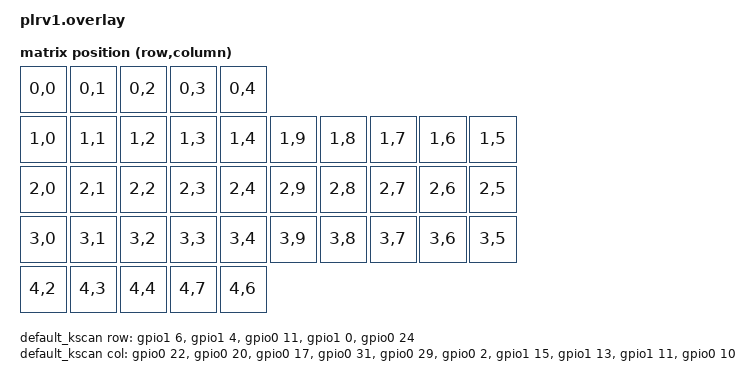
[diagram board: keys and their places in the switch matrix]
#include <dt-bindings/zmk/matrix_transform.h>

/ {
    chosen {
        zmk,kscan = &default_kscan;
        zmk,matrix_transform = &default_transform;
    };

    default_kscan: kscan {
        compatible = "zmk,kscan-gpio-matrix";
        label = "default_kscan";
        diode-direction = "col2row";

        wakeup-source;

        row-gpios = <&gpio1 6 (GPIO_PULL_DOWN | GPIO_ACTIVE_HIGH)>,  // D9 – LF – P1.06
            <&gpio1 4 (GPIO_PULL_DOWN | GPIO_ACTIVE_HIGH)>,  // D8 – LF – P1.04
            <&gpio0 11 (GPIO_PULL_DOWN | GPIO_ACTIVE_HIGH)>, // D7 – HF – P0.11
            <&gpio1 0 (GPIO_PULL_DOWN | GPIO_ACTIVE_HIGH)>,  // D6 – HF – P1.00
            <&gpio0 24 (GPIO_PULL_DOWN | GPIO_ACTIVE_HIGH)>; // D5 – LF – P0.24

        col-gpios = 
            <&gpio0 22 GPIO_ACTIVE_HIGH>,   // D4  – LF – P0.22
            <&gpio0 20 GPIO_ACTIVE_HIGH>,   // D3  – LF – P0.20
            <&gpio0 17 GPIO_ACTIVE_HIGH>,   // D2  – LF – P0.17
            <&gpio0 31 GPIO_ACTIVE_HIGH>,   // D21 – LF – P0.31
            <&gpio0 29 GPIO_ACTIVE_HIGH>,   // D20 – LF – P0.29
            <&gpio0 2  GPIO_ACTIVE_HIGH>,   // D19 – LF – P0.02
            <&gpio1 15 GPIO_ACTIVE_HIGH>,   // D18 – LF – P1.15
            <&gpio1 13 GPIO_ACTIVE_HIGH>,   // D15 – LF – P1.13
            <&gpio1 11 GPIO_ACTIVE_HIGH>,   // D14 – LF – P1.11
            <&gpio0 10 GPIO_ACTIVE_HIGH>;   // D16 – HF – P0.10
    };

    default_transform: matrix_transform {
        compatible = "zmk,matrix-transform";
        rows = <5>;
        columns = <10>;

        map = <
            RC(0,0) RC(0,1) RC(0,2) RC(0,3) RC(0,4)
            RC(1,0) RC(1,1) RC(1,2) RC(1,3) RC(1,4) RC(1,9) RC(1,8) RC(1,7) RC(1,6) RC(1,5)
            RC(2,0) RC(2,1) RC(2,2) RC(2,3) RC(2,4) RC(2,9) RC(2,8) RC(2,7) RC(2,6) RC(2,5)
            RC(3,0) RC(3,1) RC(3,2) RC(3,3) RC(3,4) RC(3,9) RC(3,8) RC(3,7) RC(3,6) RC(3,5)
            RC(4,2) RC(4,3) RC(4,4) RC(4,7) RC(4,6)
        >;
    };
};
